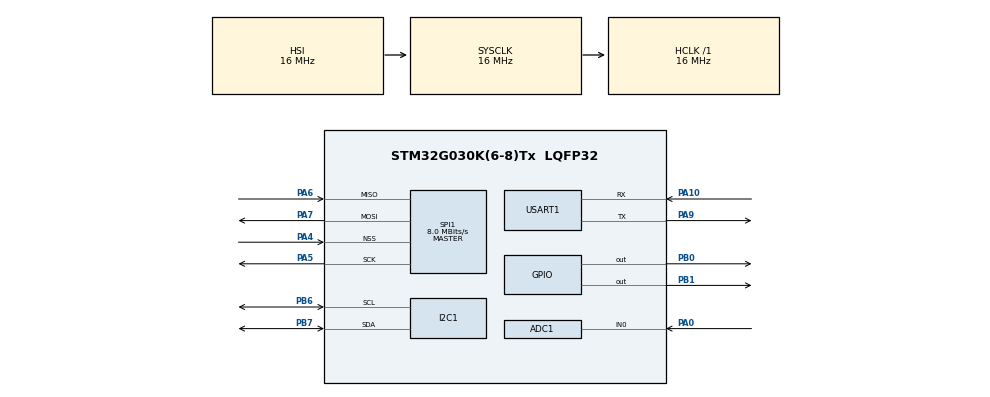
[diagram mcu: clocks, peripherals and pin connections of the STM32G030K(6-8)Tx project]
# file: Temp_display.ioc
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ADC1.Channel-1\#ChannelRegularConversion=ADC_CHANNEL_0
ADC1.NbrOfConversionFlag=1
ADC1.Rank-1\#ChannelRegularConversion=1
ADC1.SamplingTime-1\#ChannelRegularConversion=ADC_SAMPLINGTIME_COMMON_1
ADC1.SelectedChannel=ADC_CHANNEL_0
ADC1.master=1
I2C1.Timing=0x00503D58
Mcu.Family=STM32G0
Mcu.Name=STM32G030K(6-8)Tx
Mcu.Package=LQFP32
PA0.Mode=IN0
PA0.Signal=ADC1_IN0
PA10.Mode=Asynchronous
PA10.Signal=USART1_RX
PA13.Mode=Serial_Wire
PA13.Signal=SYS_SWDIO
PA14-BOOT0.Mode=Serial_Wire
PA14-BOOT0.Signal=SYS_SWCLK
PA4.Mode=NSS_Signal_Hard_Input
PA4.Signal=SPI1_NSS
PA5.Mode=Full_Duplex_Master
PA5.Signal=SPI1_SCK
PA6.Mode=Full_Duplex_Master
PA6.Signal=SPI1_MISO
PA7.Mode=Full_Duplex_Master
PA7.Signal=SPI1_MOSI
PA9.Mode=Asynchronous
PA9.Signal=USART1_TX
PB0.Signal=GPIO_Output
PB1.Signal=GPIO_Output
PB6.Mode=I2C
PB6.Signal=I2C1_SCL
PB7.Mode=I2C
PB7.Signal=I2C1_SDA
ProjectManager.HeapSize=0x200
ProjectManager.StackSize=0x400
ProjectManager.TargetToolchain=STM32CubeIDE
RCC.AHBFreq_Value=16000000
RCC.CortexFreq_Value=16000000
RCC.EXTERNAL_CLOCK_VALUE=12288000
RCC.HCLKFreq_Value=16000000
RCC.HSE_VALUE=8000000
RCC.HSI_VALUE=16000000
RCC.LSE_VALUE=32768
RCC.SYSCLKFreq_VALUE=16000000
RCC.VCOOutputFreq_Value=128000000
SPI1.CalculateBaudRate=8.0 MBits/s
SPI1.Direction=SPI_DIRECTION_2LINES
SPI1.Mode=SPI_MODE_MASTER
SPI1.VirtualNSS=VM_NSSHARD
SPI1.VirtualType=VM_MASTER
USART1.VirtualMode-Asynchronous=VM_ASYNC
board=custom

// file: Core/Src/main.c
/* USER CODE BEGIN Header */
/**
  ******************************************************************************
  * @file           : main.c
  * @brief          : Main program body
  ******************************************************************************
  * @attention
  *
  * Copyright (c) 2025 STMicroelectronics.
  * All rights reserved.
  *
  * This software is licensed under terms that can be found in the LICENSE file
  * in the root directory of this software component.
  * If no LICENSE file comes with this software, it is provided AS-IS.
  *
  ******************************************************************************
  */
/* USER CODE END Header */
#include "main.h"
#include "adc.h"
#include "i2c.h"
#include "spi.h"
#include "usart.h"
#include "gpio.h"
#include "ssd1306.h"
#include "ssd1306_fonts.h"
#include "adt_temp.h"
#include "ssd1306_conf.h"

/* USER CODE BEGIN PV */
uint8_t ADT_Buffer[2];
uint16_t rawTemperature;
float contemp;
/* USER CODE END PV */

void SystemClock_Config(void);

int main(void)
{
  char contempStr[20]; // Buffer for string conversion
  char retVal;

  /* MCU Configuration--------------------------------------------------------*/

  /* Reset of all peripherals, Initializes the Flash interface and the Systick. */
  HAL_Init();

  /* Configure the system clock */
  SystemClock_Config();

  /* Initialize all configured peripherals */
  MX_GPIO_Init();
  MX_ADC1_Init();
  MX_I2C1_Init();
  MX_SPI1_Init();
  MX_USART1_UART_Init();
  /* USER CODE BEGIN 2 */
  ssd1306_Init();
//  ssd1306_Fill(White);  // Use the correct color constant here
//  ssd1306_UpdateScreen();
  /* USER CODE END 2 */
  //retVal = ssd1306_WriteString(myText, Font_7x10, White);
  //ssd1306_UpdateScreen();
  /* Infinite loop */
  /* USER CODE BEGIN WHILE */

       HAL_Delay(1000);
  while (1)
  {
	  ADT_Read (0x00,ADT_Buffer,2);
	  rawTemperature = (ADT_Buffer[0]<< 8 ) |ADT_Buffer[1];
	  contemp = rawTemperature/32.0;
	  ssd1306_Fill(Black);
	  ssd1306_SetCursor(5, 5);
	       /* Convert temperature to s
	        * tring */
	  sprintf(contempStr, "%.2f", contemp); // Format as "XX.XX"
	  ssd1306_WriteString("Temp: ", Font_11x18, White);
	  ssd1306_WriteString(contempStr, Font_11x18, White);
	  ssd1306_UpdateScreen();

	  HAL_Delay(1000);
    /* USER CODE END WHILE */

  }
}

void SystemClock_Config(void)
{
  RCC_OscInitTypeDef RCC_OscInitStruct = {0};
  RCC_ClkInitTypeDef RCC_ClkInitStruct = {0};

  /** Configure the main internal regulator output voltage
  */
  HAL_PWREx_ControlVoltageScaling(PWR_REGULATOR_VOLTAGE_SCALE1);

  /** Initializes the RCC Oscillators according to the specified parameters
  * in the RCC_OscInitTypeDef structure.
  */
  RCC_OscInitStruct.OscillatorType = RCC_OSCILLATORTYPE_HSI;
  RCC_OscInitStruct.HSIState = RCC_HSI_ON;
  RCC_OscInitStruct.HSIDiv = RCC_HSI_DIV1;
  RCC_OscInitStruct.HSICalibrationValue = RCC_HSICALIBRATION_DEFAULT;
  RCC_OscInitStruct.PLL.PLLState = RCC_PLL_NONE;
  if (HAL_RCC_OscConfig(&RCC_OscInitStruct) != HAL_OK)
  {
    Error_Handler();
  }

  /** Initializes the CPU, AHB and APB buses clocks
  */
  RCC_ClkInitStruct.ClockType = RCC_CLOCKTYPE_HCLK|RCC_CLOCKTYPE_SYSCLK|RCC_CLOCKTYPE_PCLK1;
  RCC_ClkInitStruct.SYSCLKSource = RCC_SYSCLKSOURCE_HSI;
  RCC_ClkInitStruct.AHBCLKDivider = RCC_SYSCLK_DIV1;
  RCC_ClkInitStruct.APB1CLKDivider = RCC_HCLK_DIV1;

  if (HAL_RCC_ClockConfig(&RCC_ClkInitStruct, FLASH_LATENCY_0) != HAL_OK)
  {
    Error_Handler();
  }
}

void Error_Handler(void)
{
  __disable_irq();
  while (1)
  {
  }
}
